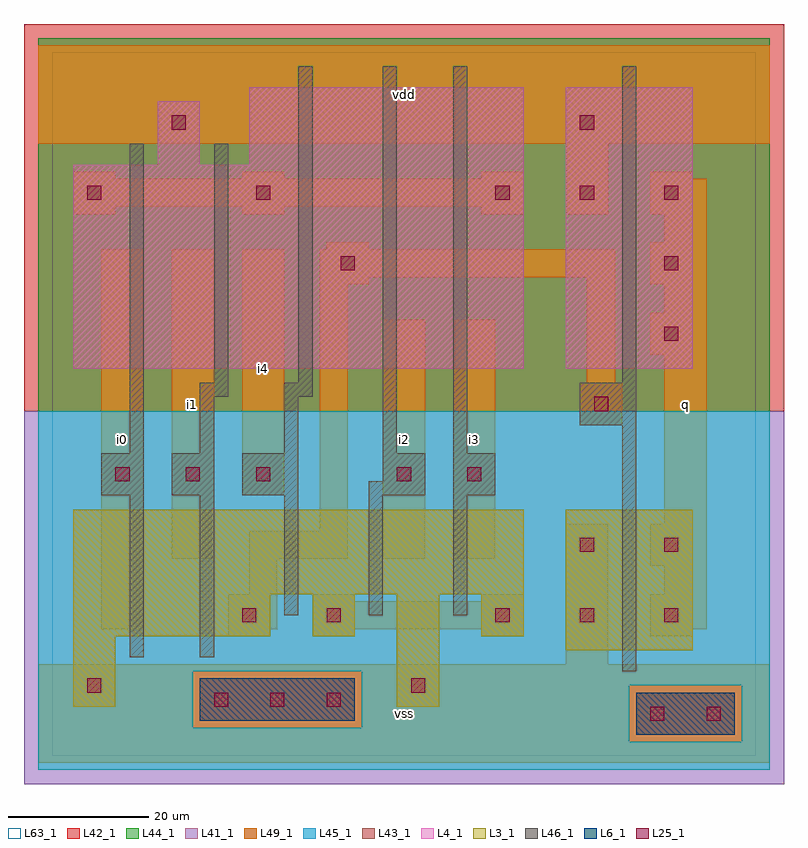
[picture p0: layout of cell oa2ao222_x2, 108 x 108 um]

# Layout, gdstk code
import gdstk
lib = gdstk.Library(unit=1e-6, precision=1e-09)
def R(c, l, rs):  # rectangles x0, y0, x1, y1
    for r in rs: c.add(gdstk.rectangle(r[:2], r[2:], *l))
def A(c, l, x, y, w, h, nx, ny, dx, dy):  # array of equal rectangles
    R(c, l, [(x+i*dx, y+j*dy, x+i*dx+w, y+j*dy+h) for i in range(nx) for j in range(ny)])
L3_1 = (3, 1)
L4_1 = (4, 1)
L6_1 = (6, 1)
L25_1 = (25, 1)
L41_1 = (41, 1)
L42_1 = (42, 1)
L43_1 = (43, 1)
L44_1 = (44, 1)
L45_1 = (45, 1)
L46_1 = (46, 1)
L49_1 = (49, 1)
L63_1 = (63, 1)

oa2ao222_x2 = lib.new_cell('oa2ao222_x2')
R(oa2ao222_x2, L3_1, [(3,7,9,17), (49,7,55,23), (73,15,91,35), (3,17,31,23), (37,17,43,23), (61,17,67,23), (3,23,67,35)])
R(oa2ao222_x2, L4_1, [(3,55,67,84), (73,55,91,95), (15,84,21,93), (28,84,67,95)])
R(oa2ao222_x2, L6_1, [(83,3,97,9), (21,5,43,11)])
A(oa2ao222_x2, L25_1, 23, 7, 2, 2, 3, 1, 8, 0)
A(oa2ao222_x2, L25_1, 63, 19, 2, 2, 3, 2, 12, 60)
A(oa2ao222_x2, L25_1, 9, 39, 2, 2, 3, 1, 10, 0)
R(oa2ao222_x2, L25_1, [(85,5,87,7), (93,5,95,7), (5,9,7,11), (51,9,53,11), (27,19,29,21), (39,19,41,21), (75,29,77,31), (87,29,89,31), (49,39,51,41), (59,39,61,41), (77,49,79,51), (87,59,89,61), (41,69,43,71), (87,69,89,71), (5,79,7,81), (29,79,31,81), (17,89,19,91), (75,89,77,91)])
R(oa2ao222_x2, L41_1, [(-4,-4,104,49)])
R(oa2ao222_x2, L42_1, [(-4,49,104,104)])
R(oa2ao222_x2, L43_1, [(83,3,97,9), (21,5,43,11), (3,7,9,17), (49,7,55,23), (73,15,91,35), (3,17,31,23), (37,17,43,23), (61,17,67,23), (3,23,67,35), (3,55,67,84), (73,55,91,95), (15,84,21,93), (28,84,67,95)])
R(oa2ao222_x2, L44_1, [(82,2,98,10), (20,4,44,12), (-2,49,102,102)])
R(oa2ao222_x2, L45_1, [(-2,-2,102,2), (-2,2,82,4), (98,2,102,10), (-2,4,20,12), (44,4,82,10), (44,10,102,12), (-2,12,102,49)])
A(oa2ao222_x2, L46_1, 33, 20, 2, 17, 3, 1, 12, 0)
R(oa2ao222_x2, L46_1, [(81,12,83,47), (11,14,13,37), (21,14,23,37), (7,37,13,43), (17,37,23,43), (27,37,35,43), (45,37,53,39), (57,37,63,43), (47,39,53,43), (11,43,13,87), (21,43,23,51), (33,43,35,51), (47,43,49,98), (57,43,59,98), (75,47,83,53), (21,51,25,53), (33,51,37,53), (23,53,25,87), (35,53,37,98), (81,53,83,98)])
A(oa2ao222_x2, L49_1, 37, 17, 6, 1, 3, 1, 24, 0)
R(oa2ao222_x2, L49_1, [(-2,-1,102,13), (73,13,79,33), (25,17,31,18), (7,18,13,72), (25,18,32,23), (37,18,67,22), (85,18,93,23), (37,22,43,23), (61,22,67,23), (28,23,32,28), (87,23,93,27), (85,27,93,33), (17,28,23,72), (28,28,42,32), (47,28,53,62), (57,28,63,62), (38,32,42,67), (87,33,93,57), (27,37,33,72), (75,47,81,53), (76,53,80,68), (85,57,93,63), (87,63,93,67), (38,67,45,68), (85,67,93,73), (38,68,80,72), (39,72,45,73), (87,73,93,77), (3,77,9,78), (27,77,33,78), (61,77,67,78), (73,77,79,87), (85,77,93,82), (3,78,67,82), (3,82,9,83), (27,82,33,83), (61,82,67,83), (85,82,91,83), (-2,87,102,101)])
R(oa2ao222_x2, L63_1, [(0,0,100,100)])
oa2ao222_x2.add(gdstk.Label('i0', (10,45), layer=49, texttype=1))
oa2ao222_x2.add(gdstk.Label('i0', (10,45), layer=49, texttype=1))
oa2ao222_x2.add(gdstk.Label('i1', (20,50), layer=49, texttype=1))
oa2ao222_x2.add(gdstk.Label('i1', (20,50), layer=49, texttype=1))
oa2ao222_x2.add(gdstk.Label('i4', (30,55), layer=49, texttype=1))
oa2ao222_x2.add(gdstk.Label('i4', (30,55), layer=49, texttype=1))
oa2ao222_x2.add(gdstk.Label('vss', (50,6), layer=49, texttype=1))
oa2ao222_x2.add(gdstk.Label('vss', (50,6), layer=49, texttype=1))
oa2ao222_x2.add(gdstk.Label('i2', (50,45), layer=49, texttype=1))
oa2ao222_x2.add(gdstk.Label('i2', (50,45), layer=49, texttype=1))
oa2ao222_x2.add(gdstk.Label('vdd', (50,94), layer=49, texttype=1))
oa2ao222_x2.add(gdstk.Label('vdd', (50,94), layer=49, texttype=1))
oa2ao222_x2.add(gdstk.Label('i3', (60,45), layer=49, texttype=1))
oa2ao222_x2.add(gdstk.Label('i3', (60,45), layer=49, texttype=1))
oa2ao222_x2.add(gdstk.Label('q', (90,50), layer=49, texttype=1))
oa2ao222_x2.add(gdstk.Label('q', (90,50), layer=49, texttype=1))

lib.write_gds('oa2ao222_x2.gds')
